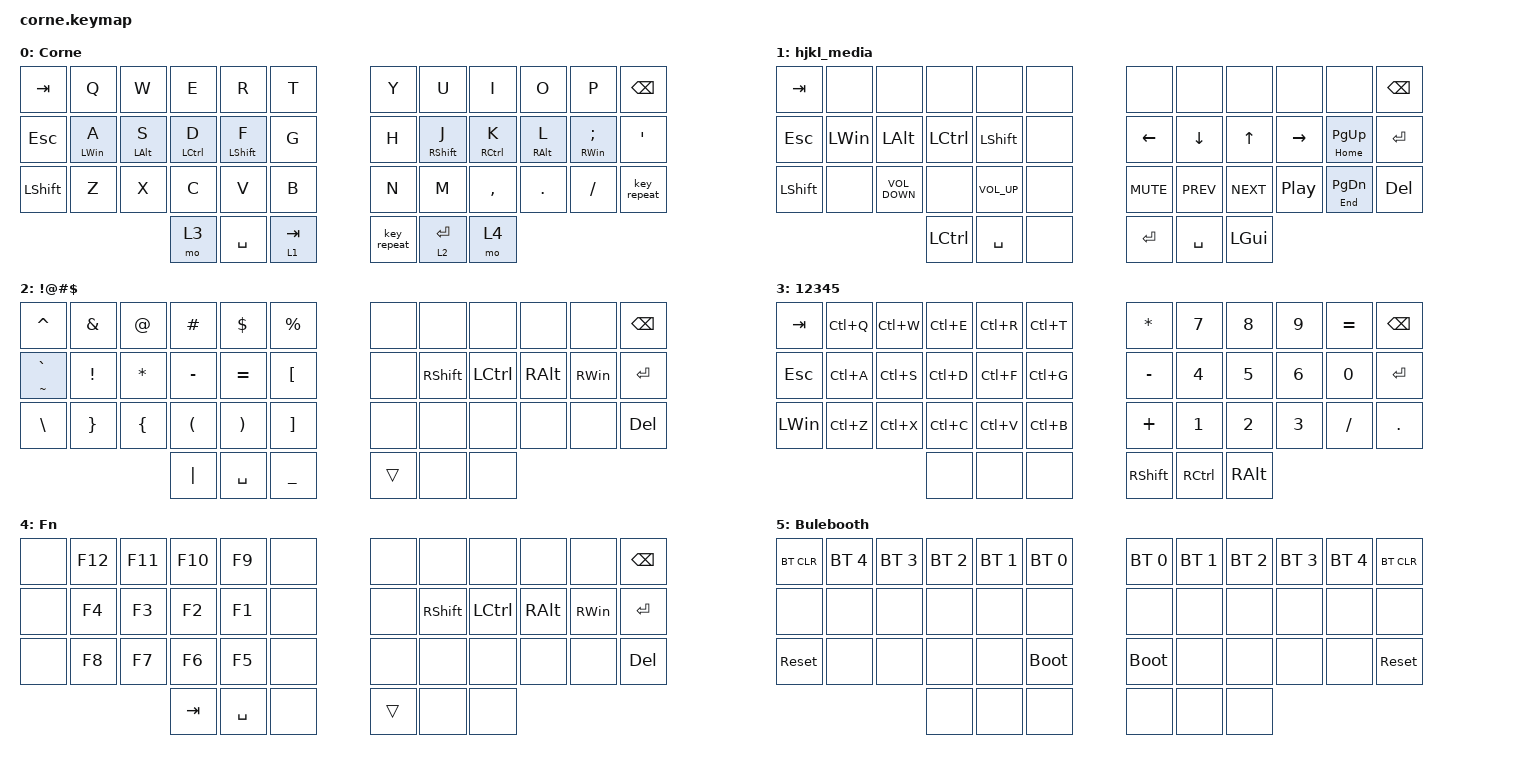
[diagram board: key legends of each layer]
/*
 * Copyright (c) 2020 The ZMK Contributors
 *
 * SPDX-License-Identifier: MIT
 */

#include <behaviors.dtsi>
#include <dt-bindings/zmk/bt.h>
#include <dt-bindings/zmk/keys.h>

&mt {
    quick-tap-ms = <150>;
    flavor = "tap-preferred";
    tapping-term-ms = <150>;
};

/ {
    combos {
        compatible = "zmk,combos";

        right_bul {
            bindings = <&tog 5>;
            key-positions = <33 34 35>;
        };

        left_bul {
            bindings = <&tog 5>;
            key-positions = <24 25 26>;
        };
    };

    keymap {
        compatible = "zmk,keymap";

        default_layer {
            // -----------------------------------------------------------------------------------------
            // |  TAB |  Q  |  W  |  E  |  R  |  T  |   |  Y  |  U   |  I  |  O  |  P  | BKSP |
            // | CTRL |  A  |  S  |  D  |  F  |  G  |   |  H  |  J   |  K  |  L  |  ;  |  '   |
            // | SHFT |  Z  |  X  |  C  |  V  |  B  |   |  N  |  M   |  ,  |  .  |  /  | ESC  |
            //                    | GUI | LWR | SPC |   | ENT | RSE  | ALT |

            bindings = <
&kp TAB    &kp Q           &kp W           &kp E        &kp R             &kp T        &kp Y        &kp U              &kp I        &kp O            &kp P               &kp BSPC
&kp ESC    &mt LEFT_WIN A  &mt LEFT_ALT S  &mt LCTRL D  &mt LEFT_SHIFT F  &kp G        &kp H        &mt RIGHT_SHIFT J  &mt RCTRL K  &mt RIGHT_ALT L  &mt RWIN SEMICOLON  &kp SQT
&kp LSHFT  &kp Z           &kp X           &kp C        &kp V             &kp B        &kp N        &kp M              &kp COMMA    &kp DOT          &kp SLASH           &key_repeat
                                           &mo 3        &kp SPACE         &lt 1 TAB    &key_repeat  &lt 2 ENTER        &mo 4
            >;

            label = "Corne";
        };

        arrow_media_layer {
            // -----------------------------------------------------------------------------------------
            // |  TAB |  1  |  2  |  3  |  4  |  5  |   |  6  |  7  |  8  |  9  |  0  | BKSP |
            // | BTCLR| BT1 | BT2 | BT3 | BT4 | BT5 |   | LFT | DWN |  UP | RGT |     |      |
            // | SHFT |     |     |     |     |     |   |     |     |     |     |     |      |
            //                    | GUI |     | SPC |   | ENT |     | ALT |

            bindings = <
&kp TAB    &none         &none              &none      &none           &none    &none       &none       &none         &none      &none              &kp BSPC
&kp ESC    &kp LEFT_WIN  &kp LEFT_ALT       &kp LCTRL  &kp LEFT_SHIFT  &none    &kp LEFT    &kp DOWN    &kp UP_ARROW  &kp RIGHT  &mt HOME PAGE_UP   &kp ENTER
&kp LSHFT  &none         &kp C_VOLUME_DOWN  &none      &kp C_VOL_UP    &none    &kp C_MUTE  &kp C_PREV  &kp C_NEXT    &kp C_PP   &mt END PAGE_DOWN  &kp DEL
                                            &kp LCTRL  &kp SPACE       &none    &kp ENTER   &kp SPACE   &kp LGUI
            >;

            label = "hjkl_media";
        };

        symbols_layer {
            // -----------------------------------------------------------------------------------------
            // |  TAB |  !  |  @  |  #  |  $  |  %  |   |  ^  |  &  |  *  |  (  |  )  | BKSP |
            // | CTRL |     |     |     |     |     |   |  -  |  =  |  [  |  ]  |  \  |  `   |
            // | SHFT |     |     |     |     |     |   |  _  |  +  |  {  |  }  | "|" |  ~   |
            //                    | GUI |     | SPC |   | ENT |     | ALT |

            bindings = <
&kp CARET        &kp AMPERSAND    &kp AT          &kp HASH              &kp DLLR               &kp PRCNT         &none   &none            &none      &none          &none          &kp BSPC
&mt TILDE GRAVE  &kp EXCLAMATION  &kp ASTERISK    &kp MINUS             &kp EQUAL              &kp LBKT          &none   &kp RIGHT_SHIFT  &kp LCTRL  &kp RIGHT_ALT  &kp RIGHT_WIN  &kp ENTER
&kp BACKSLASH    &kp RIGHT_BRACE  &kp LEFT_BRACE  &kp LEFT_PARENTHESIS  &kp RIGHT_PARENTHESIS  &kp RBKT          &none   &none            &none      &none          &none          &kp DEL
                                                  &kp PIPE              &kp SPACE              &kp UNDERSCORE    &trans  &none            &none
            >;

            label = "!@#$";
        };

        number_layer {
            bindings = <
&kp TAB       &kp LC(Q)  &kp LC(W)  &kp LC(E)  &kp LC(R)  &kp LC(T)    &kp ASTERISK     &kp N7     &kp N8         &kp N9  &kp EQUAL  &kp BSPC
&kp ESC       &kp LC(A)  &kp LC(S)  &kp LC(D)  &kp LC(F)  &kp LC(G)    &kp MINUS        &kp N4     &kp N5         &kp N6  &kp N0     &kp ENTER
&kp LEFT_WIN  &kp LC(Z)  &kp LC(X)  &kp LC(C)  &kp LC(V)  &kp LC(B)    &kp PLUS         &kp N1     &kp N2         &kp N3  &kp SLASH  &kp DOT
                                    &none      &none      &none        &kp RIGHT_SHIFT  &kp RCTRL  &kp RIGHT_ALT
            >;

            label = "12345";
        };

        Fn_layer {
            bindings = <
&none  &kp F12  &kp F11  &kp F10  &kp F9     &none    &none   &none            &none      &none          &none          &kp BSPC
&none  &kp F4   &kp F3   &kp F2   &kp F1     &none    &none   &kp RIGHT_SHIFT  &kp LCTRL  &kp RIGHT_ALT  &kp RIGHT_WIN  &kp ENTER
&none  &kp F8   &kp F7   &kp F6   &kp F5     &none    &none   &none            &none      &none          &none          &kp DEL
                         &kp TAB  &kp SPACE  &none    &trans  &none            &none
            >;

            label = "Fn";
        };

        both_layer {
            bindings = <
&bt BT_CLR  &bt BT_SEL 4  &bt BT_SEL 3  &bt BT_SEL 2  &bt BT_SEL 1  &bt BT_SEL 0    &bt BT_SEL 0  &bt BT_SEL 1  &bt BT_SEL 2  &bt BT_SEL 3  &bt BT_SEL 4  &bt BT_CLR
&none       &none         &none         &none         &none         &none           &none         &none         &none         &none         &none         &none
&sys_reset  &none         &none         &none         &none         &bootloader     &bootloader   &none         &none         &none         &none         &sys_reset
                                        &none         &none         &none           &none         &none         &none
            >;

            label = "Bulebooth";
        };
    };

    conditional_layers { compatible = "zmk,conditional-layers"; };
};
